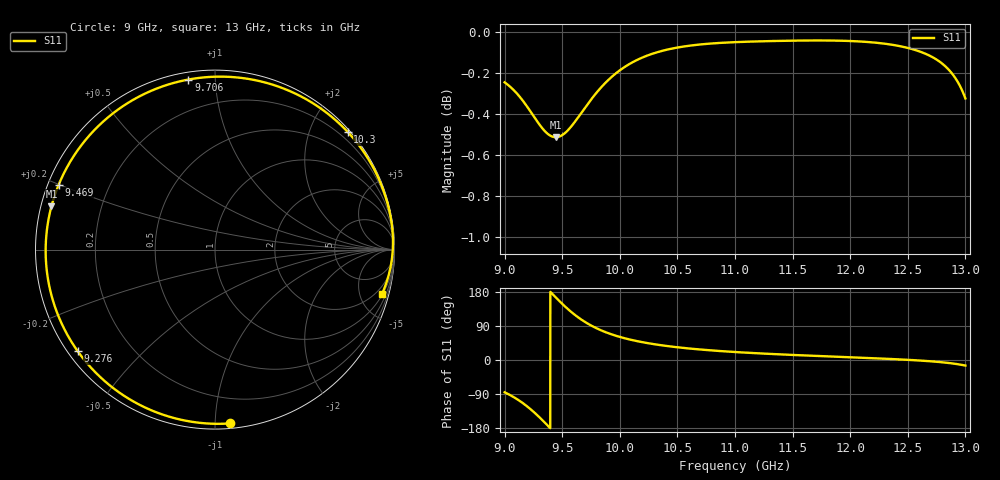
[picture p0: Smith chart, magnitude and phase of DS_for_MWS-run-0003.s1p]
! TOUCHSTONE file generated by CST DESIGN STUDIO
! Date and time: Tue Feb  4 13:51:20 2025
! Project name: C:\Work\MatlabApps\UnitCellOptimizationMatlab\CST\unitcell.cst
! Tree item: Tasks\Sweep1\SPara1\S-Parameters
! Header version: 2024
! Port assignment regex: !\s*Touchstone port\s*([0-9]+)\s*=\s*(CST MWS port|CST DES external port|CST DES block port)\s*(.+)\s* \(\"(.*)\"\)(\s*mode\s*([0-9]+))?.*
! Touchstone port assignment:
! Touchstone port 1 = CST DES external port 1 ("")
# GHz S MA R 50
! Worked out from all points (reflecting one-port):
!   4001 points, 9 GHz to 13 GHz, reference 50 ohm
!   lowest |S11| = -0.5 dB at 9.444 GHz (marker M1), VSWR 33.90, Z = 1.5 + j6.53 ohm
!   phase of S11 starts at -85 deg and turns -290 deg over the sweep
!   S11 on the Smith chart (normalised r, x): 9 GHz: 0.03, -1.09; 9.276 GHz: 0.03, -0.33; 9.469 GHz: 0.03, +0.20; 9.706 GHz: 0.04, +0.86; 10.3 GHz: 0.05, +2.63; 13 GHz: 1.11, -7.57
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9  0.9721 -85.2
9.083  0.9676 -98.7
9.152  0.9627 -112.4
9.215  0.9572 -127.2
9.276  0.9517 -143.5
9.322  0.9478 -157.0
9.363  0.9451 -169.6
9.403  0.9433 177.9
9.444  0.9427 165.1
9.469  0.9429 157.4
9.5  0.9438 148.2
9.549  0.9463 134.5
9.598  0.9499 121.9
9.65  0.9542 110.0
9.706  0.959 98.9
9.77  0.9643 88.0
9.847  0.97 77.1
9.921  0.9746 68.5
10  0.9786 60.9
10.138  0.984 50.5
10.301  0.9881 41.6
10.5  0.9912 33.6
11  0.9942 21.1
11.5  0.995 13.4
12  0.9948 7.2
12.5  0.991 0.5
12.793  0.9826 -5.8
13  0.9634 -14.7
